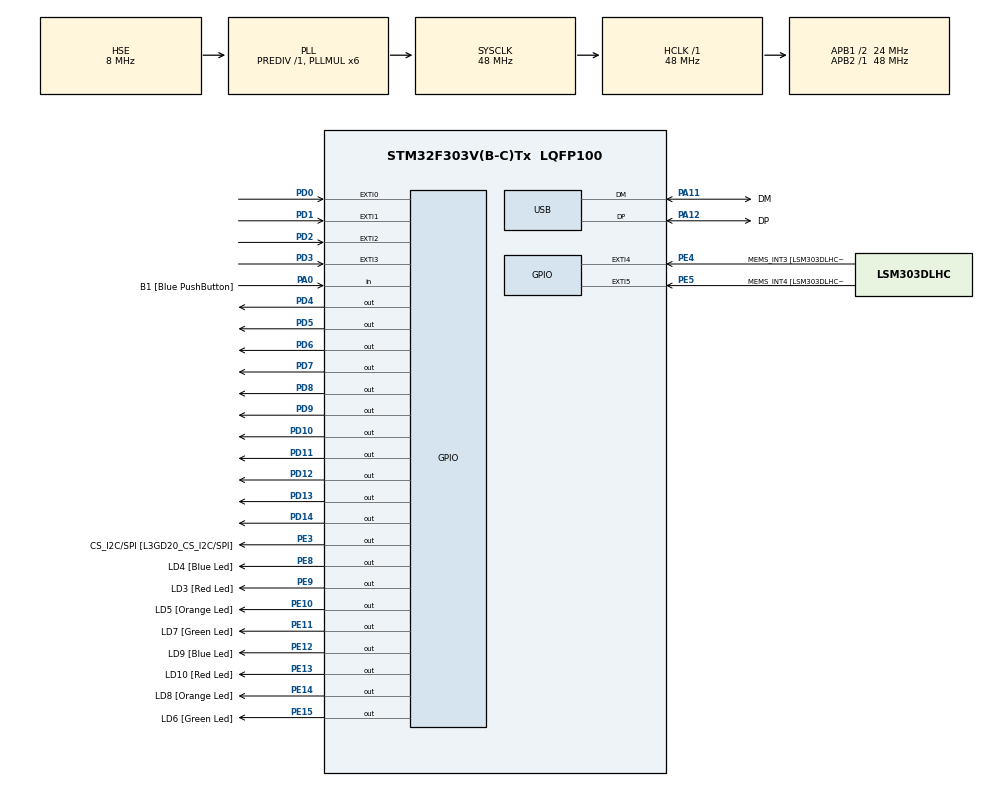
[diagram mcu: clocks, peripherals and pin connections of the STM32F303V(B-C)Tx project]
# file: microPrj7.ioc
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Mcu.Family=STM32F3
Mcu.Name=STM32F303V(B-C)Tx
Mcu.Package=LQFP100
NVIC.EXTI0_IRQn=true\:1\:0\:true\:false\:true\:true\:true\:true
NVIC.EXTI1_IRQn=true\:1\:0\:true\:false\:true\:true\:true\:true
NVIC.EXTI2_TSC_IRQn=true\:1\:0\:true\:false\:true\:true\:true\:true
NVIC.EXTI3_IRQn=true\:1\:0\:true\:false\:true\:true\:true\:true
NVIC.PriorityGroup=NVIC_PRIORITYGROUP_1
NVIC.TIM6_DAC_IRQn=true\:1\:0\:true\:false\:true\:true\:true\:true
PA0.GPIO_Label=B1 [Blue PushButton]
PA0.Signal=GPIO_Input
PA11.GPIO_Label=DM
PA11.Mode=Device
PA11.Signal=USB_DM
PA12.GPIO_Label=DP
PA12.Mode=Device
PA12.Signal=USB_DP
PA13.GPIO_Label=SWDIO
PA13.Mode=Serial_Wire
PA13.Signal=SYS_JTMS-SWDIO
PA14.GPIO_Label=SWCLK
PA14.Mode=Serial_Wire
PA14.Signal=SYS_JTCK-SWCLK
PB3.GPIO_Label=SWO
PB3.Signal=SYS_JTDO-TRACESWO
PB6.GPIO_Label=I2C1_SCL [LSM303DLHC_SCL]
PB6.GPIO_Pu=GPIO_PULLUP
PB6.Signal=I2C1_SCL
PB7.GPIO_Label=I2C1_SDA [LSM303DLHC_SDA]
PB7.GPIO_Pu=GPIO_PULLUP
PB7.Signal=I2C1_SDA
PC14-OSC32_IN.GPIO_Label=OSC32_IN
PC14-OSC32_IN.Signal=RCC_OSC32_IN
PC15-OSC32_OUT.GPIO_Label=OSC32_OUT
PC15-OSC32_OUT.Signal=RCC_OSC32_OUT
PD0.GPIO_PuPd=GPIO_PULLDOWN
PD0.Signal=GPXTI0
PD1.GPIO_PuPd=GPIO_PULLDOWN
PD1.Signal=GPXTI1
PD10.Signal=GPIO_Output
PD11.Signal=GPIO_Output
PD12.Signal=GPIO_Output
PD13.Signal=GPIO_Output
PD14.Signal=GPIO_Output
PD2.GPIO_PuPd=GPIO_PULLDOWN
PD2.Signal=GPXTI2
PD3.GPIO_PuPd=GPIO_PULLDOWN
PD3.Signal=GPXTI3
PD4.Signal=GPIO_Output
PD5.Signal=GPIO_Output
PD6.Signal=GPIO_Output
PD7.Signal=GPIO_Output
PD8.Signal=GPIO_Output
PD9.Signal=GPIO_Output
PE10.GPIO_Label=LD5 [Orange Led]
PE10.Signal=GPIO_Output
PE11.GPIO_Label=LD7 [Green Led]
PE11.Signal=GPIO_Output
PE12.GPIO_Label=LD9 [Blue Led]
PE12.Signal=GPIO_Output
PE13.GPIO_Label=LD10 [Red Led]
PE13.Signal=GPIO_Output
PE14.GPIO_Label=LD8 [Orange Led]
PE14.Signal=GPIO_Output
PE15.GPIO_Label=LD6 [Green Led]
PE15.Signal=GPIO_Output
PE3.GPIO_Label=CS_I2C/SPI [L3GD20_CS_I2C/SPI]
PE3.Signal=GPIO_Output
PE4.GPIO_Label=MEMS_INT3 [LSM303DLHC_INT1]
PE4.GPIO_ModeDefaultEXTI=GPIO_MODE_EVT_RISING
PE4.Signal=GPXTI4
PE5.GPIO_Label=MEMS_INT4 [LSM303DLHC_INT2]
PE5.GPIO_ModeDefaultEXTI=GPIO_MODE_EVT_RISING
PE5.Signal=GPXTI5
PE8.GPIO_Label=LD4 [Blue Led]
PE8.Signal=GPIO_Output
PE9.GPIO_Label=LD3 [Red Led]
PE9.Signal=GPIO_Output
PF0-OSC_IN.GPIO_Label=OSC_IN
PF0-OSC_IN.Mode=HSE-External-Clock-Source
PF0-OSC_IN.Signal=RCC_OSC_IN
PF1-OSC_OUT.GPIO_Label=OSC_OUT
PF1-OSC_OUT.Signal=RCC_OSC_OUT
ProjectManager.HeapSize=0x200
ProjectManager.StackSize=0x400
ProjectManager.TargetToolchain=STM32CubeIDE
RCC.AHBFreq_Value=48000000
RCC.APB1CLKDivider=RCC_HCLK_DIV2
RCC.APB1Freq_Value=24000000
RCC.APB1TimFreq_Value=48000000
RCC.APB2Freq_Value=48000000
RCC.APB2TimFreq_Value=48000000
RCC.CortexFreq_Value=48000000
RCC.HCLKFreq_Value=48000000
RCC.HSE_VALUE=8000000
RCC.HSI_VALUE=8000000
RCC.LSE_VALUE=32768
RCC.PLLMUL=RCC_PLL_MUL6
RCC.SYSCLKFreq_VALUE=48000000
RCC.SYSCLKSourceVirtual=RCC_SYSCLKSOURCE_PLLCLK
RCC.USBFreq_Value=48000000
TIM6.Period=999
TIM6.Prescaler=9599
VP_TIM6_VS_ClockSourceINT.Mode=Enable_Timer
board=STM32F3DISCOVERY

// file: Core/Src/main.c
/* USER CODE BEGIN Header */
/**
 ******************************************************************************
 * @file           : main.c
 * @brief          : Main program body
 ******************************************************************************
 * @attention
 *
 * Copyright (c) 2022 STMicroelectronics.
 * All rights reserved.
 *
 * This software is licensed under terms that can be found in the LICENSE file
 * in the root directory of this software component.
 * If no LICENSE file comes with this software, it is provided AS-IS.
 *
 ******************************************************************************
 */
/* USER CODE END Header */
#include "main.h"

/* USER CODE BEGIN Includes */
#include <stdio.h>
#include <stdbool.h>
#include <string.h>
#include <math.h>
#include "LiquidCrystal.h"
/* USER CODE END Includes */

/* USER CODE BEGIN PTD */
enum statusType {
	FIRST_NUM, SECOND_NUM, RESULT, ERROR0
};
enum operatorType {
	PLUS, MINUS, MULTIPLY, DIVISION
};
enum signType {
	POSITIVE, NEGATIVE
};
/* USER CODE END PTD */

/* USER CODE BEGIN PD */
#define LCD_D8 GPIO_PIN_8
#define LCD_D9 GPIO_PIN_9
#define LCD_D10 GPIO_PIN_10
#define LCD_D11 GPIO_PIN_11
#define LCD_D12 GPIO_PIN_12
#define LCD_D13 GPIO_PIN_13
#define LCD_D14 GPIO_PIN_14

/* USER CODE END PD */

TIM_HandleTypeDef htim6;

PCD_HandleTypeDef hpcd_USB_FS;

/* USER CODE BEGIN PV */
int lastExtiTime = 0;
enum statusType status = FIRST_NUM;
enum signType firstNumSign = POSITIVE;
enum operatorType operator;
int firstNumIdx = 0, secondNumIdx = 0;
int firstNumBuff[5] = { [0 ... 4] = -1 }, secondNumBuff[5] = { [0 ... 4] = -1 };
int currentRow = 0;
/* USER CODE END PV */

void SystemClock_Config(void);
static void MX_GPIO_Init(void);
static void MX_USB_PCD_Init(void);
static void MX_TIM6_Init(void);
/* USER CODE BEGIN PFP */
void handleKey();
void calculate();
void setAsFirstNum(int n);
void calcReset();
/* USER CODE END PFP */

int main(void) {

	/* MCU Configuration--------------------------------------------------------*/

	/* Reset of all peripherals, Initializes the Flash interface and the Systick. */
	HAL_Init();

	/* Configure the system clock */
	SystemClock_Config();

	/* Initialize all configured peripherals */
	MX_GPIO_Init();
	MX_USB_PCD_Init();
	MX_TIM6_Init();
	/* USER CODE BEGIN 2 */
	HAL_TIM_Base_Start_IT(&htim6);
	LiquidCrystal(GPIOD, LCD_D8, LCD_D9, LCD_D10, LCD_D11, LCD_D12, LCD_D13,
	LCD_D14);
	begin(20, 4);

	print("0");

	HAL_GPIO_WritePin(GPIOD, GPIO_PIN_4 | GPIO_PIN_5 | GPIO_PIN_6 | GPIO_PIN_7, GPIO_PIN_SET);
	/* USER CODE END 2 */

	/* Infinite loop */
	while (1) {

	}
}

void SystemClock_Config(void) {
	RCC_OscInitTypeDef RCC_OscInitStruct = { 0 };
	RCC_ClkInitTypeDef RCC_ClkInitStruct = { 0 };
	RCC_PeriphCLKInitTypeDef PeriphClkInit = { 0 };

	/** Initializes the RCC Oscillators according to the specified parameters
	 * in the RCC_OscInitTypeDef structure.
	 */
	RCC_OscInitStruct.OscillatorType = RCC_OSCILLATORTYPE_HSE;
	RCC_OscInitStruct.HSEState = RCC_HSE_BYPASS;
	RCC_OscInitStruct.HSEPredivValue = RCC_HSE_PREDIV_DIV1;
	RCC_OscInitStruct.HSIState = RCC_HSI_ON;
	RCC_OscInitStruct.PLL.PLLState = RCC_PLL_ON;
	RCC_OscInitStruct.PLL.PLLSource = RCC_PLLSOURCE_HSE;
	RCC_OscInitStruct.PLL.PLLMUL = RCC_PLL_MUL6;
	if (HAL_RCC_OscConfig(&RCC_OscInitStruct) != HAL_OK) {
		Error_Handler();
	}

	/** Initializes the CPU, AHB and APB buses clocks
	 */
	RCC_ClkInitStruct.ClockType = RCC_CLOCKTYPE_HCLK | RCC_CLOCKTYPE_SYSCLK | RCC_CLOCKTYPE_PCLK1
			| RCC_CLOCKTYPE_PCLK2;
	RCC_ClkInitStruct.SYSCLKSource = RCC_SYSCLKSOURCE_PLLCLK;
	RCC_ClkInitStruct.AHBCLKDivider = RCC_SYSCLK_DIV1;
	RCC_ClkInitStruct.APB1CLKDivider = RCC_HCLK_DIV2;
	RCC_ClkInitStruct.APB2CLKDivider = RCC_HCLK_DIV1;

	if (HAL_RCC_ClockConfig(&RCC_ClkInitStruct, FLASH_LATENCY_1) != HAL_OK) {
		Error_Handler();
	}
	PeriphClkInit.PeriphClockSelection = RCC_PERIPHCLK_USB;
	PeriphClkInit.USBClockSelection = RCC_USBCLKSOURCE_PLL;
	if (HAL_RCCEx_PeriphCLKConfig(&PeriphClkInit) != HAL_OK) {
		Error_Handler();
	}
}

static void MX_TIM6_Init(void) {

	TIM_MasterConfigTypeDef sMasterConfig = { 0 };

	htim6.Instance = TIM6;
	htim6.Init.Prescaler = 9599;
	htim6.Init.CounterMode = TIM_COUNTERMODE_UP;
	htim6.Init.Period = 999;
	htim6.Init.AutoReloadPreload = TIM_AUTORELOAD_PRELOAD_DISABLE;
	if (HAL_TIM_Base_Init(&htim6) != HAL_OK) {
		Error_Handler();
	}
	sMasterConfig.MasterOutputTrigger = TIM_TRGO_RESET;
	sMasterConfig.MasterSlaveMode = TIM_MASTERSLAVEMODE_DISABLE;
	if (HAL_TIMEx_MasterConfigSynchronization(&htim6, &sMasterConfig) != HAL_OK) {
		Error_Handler();
	}

}

static void MX_USB_PCD_Init(void) {

	hpcd_USB_FS.Instance = USB;
	hpcd_USB_FS.Init.dev_endpoints = 8;
	hpcd_USB_FS.Init.speed = PCD_SPEED_FULL;
	hpcd_USB_FS.Init.phy_itface = PCD_PHY_EMBEDDED;
	hpcd_USB_FS.Init.low_power_enable = DISABLE;
	hpcd_USB_FS.Init.battery_charging_enable = DISABLE;
	if (HAL_PCD_Init(&hpcd_USB_FS) != HAL_OK) {
		Error_Handler();
	}

}

static void MX_GPIO_Init(void) {
	GPIO_InitTypeDef GPIO_InitStruct = { 0 };

	/* GPIO Ports Clock Enable */
	__HAL_RCC_GPIOE_CLK_ENABLE();
	__HAL_RCC_GPIOC_CLK_ENABLE();
	__HAL_RCC_GPIOF_CLK_ENABLE();
	__HAL_RCC_GPIOA_CLK_ENABLE();
	__HAL_RCC_GPIOD_CLK_ENABLE();
	__HAL_RCC_GPIOB_CLK_ENABLE();

	/*Configure GPIO pin Output Level */
	HAL_GPIO_WritePin(GPIOE,
	CS_I2C_SPI_Pin | LD4_Pin | LD3_Pin | LD5_Pin | LD7_Pin | LD9_Pin | LD10_Pin | LD8_Pin | LD6_Pin,
			GPIO_PIN_RESET);

	/*Configure GPIO pin Output Level */
	HAL_GPIO_WritePin(GPIOD,
			GPIO_PIN_8 | GPIO_PIN_9 | GPIO_PIN_10 | GPIO_PIN_11 | GPIO_PIN_12 | GPIO_PIN_13
					| GPIO_PIN_14 | GPIO_PIN_4 | GPIO_PIN_5 | GPIO_PIN_6 | GPIO_PIN_7,
			GPIO_PIN_RESET);

	/*Configure GPIO pins : CS_I2C_SPI_Pin LD4_Pin LD3_Pin LD5_Pin
	 LD7_Pin LD9_Pin LD10_Pin LD8_Pin
	 LD6_Pin */
	GPIO_InitStruct.Pin = CS_I2C_SPI_Pin | LD4_Pin | LD3_Pin | LD5_Pin | LD7_Pin | LD9_Pin
			| LD10_Pin | LD8_Pin | LD6_Pin;
	GPIO_InitStruct.Mode = GPIO_MODE_OUTPUT_PP;
	GPIO_InitStruct.Pull = GPIO_NOPULL;
	GPIO_InitStruct.Speed = GPIO_SPEED_FREQ_LOW;
	HAL_GPIO_Init(GPIOE, &GPIO_InitStruct);

	/*Configure GPIO pins : MEMS_INT3_Pin MEMS_INT4_Pin */
	GPIO_InitStruct.Pin = MEMS_INT3_Pin | MEMS_INT4_Pin;
	GPIO_InitStruct.Mode = GPIO_MODE_EVT_RISING;
	GPIO_InitStruct.Pull = GPIO_NOPULL;
	HAL_GPIO_Init(GPIOE, &GPIO_InitStruct);

	/*Configure GPIO pin : B1_Pin */
	GPIO_InitStruct.Pin = B1_Pin;
	GPIO_InitStruct.Mode = GPIO_MODE_INPUT;
	GPIO_InitStruct.Pull = GPIO_NOPULL;
	HAL_GPIO_Init(B1_GPIO_Port, &GPIO_InitStruct);

	/*Configure GPIO pins : PD8 PD9 PD10 PD11
	 PD12 PD13 PD14 PD4
	 PD5 PD6 PD7 */
	GPIO_InitStruct.Pin = GPIO_PIN_8 | GPIO_PIN_9 | GPIO_PIN_10 | GPIO_PIN_11 | GPIO_PIN_12
			| GPIO_PIN_13 | GPIO_PIN_14 | GPIO_PIN_4 | GPIO_PIN_5 | GPIO_PIN_6 | GPIO_PIN_7;
	GPIO_InitStruct.Mode = GPIO_MODE_OUTPUT_PP;
	GPIO_InitStruct.Pull = GPIO_NOPULL;
	GPIO_InitStruct.Speed = GPIO_SPEED_FREQ_LOW;
	HAL_GPIO_Init(GPIOD, &GPIO_InitStruct);

	/*Configure GPIO pins : PD0 PD1 PD2 PD3 */
	GPIO_InitStruct.Pin = GPIO_PIN_0 | GPIO_PIN_1 | GPIO_PIN_2 | GPIO_PIN_3;
	GPIO_InitStruct.Mode = GPIO_MODE_IT_RISING;
	GPIO_InitStruct.Pull = GPIO_PULLDOWN;
	HAL_GPIO_Init(GPIOD, &GPIO_InitStruct);

	/*Configure GPIO pins : I2C1_SCL_Pin I2C1_SDA_Pin */
	GPIO_InitStruct.Pin = I2C1_SCL_Pin | I2C1_SDA_Pin;
	GPIO_InitStruct.Mode = GPIO_MODE_AF_OD;
	GPIO_InitStruct.Pull = GPIO_PULLUP;
	GPIO_InitStruct.Speed = GPIO_SPEED_FREQ_HIGH;
	GPIO_InitStruct.Alternate = GPIO_AF4_I2C1;
	HAL_GPIO_Init(GPIOB, &GPIO_InitStruct);

	/* EXTI interrupt init*/
	HAL_NVIC_SetPriority(EXTI0_IRQn, 1, 0);
	HAL_NVIC_EnableIRQ(EXTI0_IRQn);

	HAL_NVIC_SetPriority(EXTI1_IRQn, 1, 0);
	HAL_NVIC_EnableIRQ(EXTI1_IRQn);

	HAL_NVIC_SetPriority(EXTI2_TSC_IRQn, 1, 0);
	HAL_NVIC_EnableIRQ(EXTI2_TSC_IRQn);

	HAL_NVIC_SetPriority(EXTI3_IRQn, 1, 0);
	HAL_NVIC_EnableIRQ(EXTI3_IRQn);

}

/* USER CODE BEGIN 4 */
int myNum;
bool clicked = false;
char calcChar;
char str[20];
void HAL_TIM_PeriodElapsedCallback(TIM_HandleTypeDef *htim) {
	if (htim->Instance == TIM6) {
		handleKey();
	}
}

void handleKey() {
	if (!clicked)
		return;

	if (status == ERROR0) {
		clicked = false;
		calcReset();
		return;
	}

	switch (myNum) {
	case 1:
	case 2:
	case 3:
		if (status == FIRST_NUM) {
			if (firstNumIdx < 4) {
				firstNumBuff[firstNumIdx] = myNum;
				firstNumIdx++;
				sprintf(str, "%d", myNum);
				if (firstNumIdx == 1)
					setCursor(0, currentRow);
				print(str);
			}
		} else if (status == SECOND_NUM) {
			if (secondNumIdx < 4) {
				secondNumBuff[secondNumIdx] = myNum;
				secondNumIdx++;
				sprintf(str, "%d", myNum);
				print(str);
			}
		}

		break;
	case 5:
	case 6:
	case 7:
		if (status == FIRST_NUM) {
			if (firstNumIdx < 4) {
				firstNumBuff[firstNumIdx] = myNum - 1;
				firstNumIdx++;
				sprintf(str, "%d", myNum - 1);
				if (firstNumIdx == 1)
					setCursor(0, currentRow);
				print(str);
			}
		} else if (status == SECOND_NUM) {
			if (secondNumIdx < 4) {
				secondNumBuff[secondNumIdx] = myNum - 1;
				secondNumIdx++;
				sprintf(str, "%d", myNum - 1);
				print(str);
			}
		}

		break;
	case 9:
	case 10:
	case 11:
		if (status == FIRST_NUM) {
			if (firstNumIdx < 4) {
				firstNumBuff[firstNumIdx] = myNum - 2;
				firstNumIdx++;
				sprintf(str, "%d", myNum - 2);
				if (firstNumIdx == 1)
					setCursor(0, currentRow);
				print(str);
			}
		} else if (status == SECOND_NUM) {
			if (secondNumIdx < 4) {
				secondNumBuff[secondNumIdx] = myNum - 2;
				secondNumIdx++;
				sprintf(str, "%d", myNum - 2);
				print(str);
			}
		}

		break;
	case 14:
		if (status == FIRST_NUM) {
			if (firstNumIdx < 4 && firstNumIdx > 0) {
				firstNumBuff[firstNumIdx] = 0;
				firstNumIdx++;
				sprintf(str, "%d", 0);
				print(str);
			}
		} else if (status == SECOND_NUM) {
			if ((secondNumBuff[0] != 0 || secondNumIdx == 0) && secondNumIdx < 4) {
				secondNumBuff[secondNumIdx] = 0;
				secondNumIdx++;
				sprintf(str, "%d", 0);
				print(str);
			}
		}
		break;

	case 4:
		if (status == FIRST_NUM) {
			if (firstNumIdx == 0) {
				firstNumSign = NEGATIVE;
				setCursor(0, 0);
			} else {
				status = SECOND_NUM;
				operator = MINUS;
			}
			print("-");
		} else if (status == RESULT) {
			status = SECOND_NUM;
			operator = MINUS;
			print("-");
		}
		break;

	case 8:
		if (status == FIRST_NUM) {
			if (firstNumIdx == 0) {
				firstNumSign = POSITIVE;
			} else {
				status = SECOND_NUM;
				operator = PLUS;
				print("+");
			}
		} else if (status == RESULT) {
			status = SECOND_NUM;
			operator = PLUS;
			print("+");
		}
		break;

	case 12:
		if (status == FIRST_NUM) {
			status = SECOND_NUM;
			operator = MULTIPLY;
			print("*");
		} else if (status == RESULT) {
			status = SECOND_NUM;
			operator = MULTIPLY;
			print("*");
		}
		break;
	case 13:
		calcReset();
		break;
	case 15:
		if (status == SECOND_NUM) {
			if (secondNumIdx > 0) {
				calculate();
			}
		}
		break;
	case 16:
		if (status == FIRST_NUM) {
			status = SECOND_NUM;
			operator = DIVISION;
			print("/");
		} else if (status == RESULT) {
			status = SECOND_NUM;
			operator = DIVISION;
			print("/");
		}
		break;

	default:

		break;
	}
	clicked = false;
}

GPIO_TypeDef *const Row_ports[] = { GPIOD, GPIOD, GPIOD, GPIOD };
const uint16_t Row_pins[] = { GPIO_PIN_0, GPIO_PIN_1, GPIO_PIN_2, GPIO_PIN_3 };
GPIO_TypeDef *const Column_ports[] = { GPIOD, GPIOD, GPIOD, GPIOD };
const uint16_t Column_pins[] = { GPIO_PIN_4, GPIO_PIN_5, GPIO_PIN_6, GPIO_PIN_7 };
uint32_t last_gpio_exti;

void HAL_GPIO_EXTI_Callback(uint16_t GPIO_Pin) {
	if (last_gpio_exti + 200 > HAL_GetTick()) {
		return;
	}
	last_gpio_exti = HAL_GetTick();

	int8_t row_number = -1;
	int8_t column_number = -1;

	for (uint8_t row = 0; row < 4; row++) // Loop through Rows
			{
		if (GPIO_Pin == Row_pins[row]) {
			row_number = row;
		}
	}

	for (int i = 0; i < 4; i++)
		HAL_GPIO_WritePin(Column_ports[i], Column_pins[i], GPIO_PIN_RESET);

	for (uint8_t col = 0; col < 4; col++) // Loop through Columns
			{
		HAL_GPIO_WritePin(Column_ports[col], Column_pins[col], 1);
		if (HAL_GPIO_ReadPin(Row_ports[row_number], Row_pins[row_number])) {
			column_number = col;
		}
		HAL_GPIO_WritePin(Column_ports[col], Column_pins[col], 0);
	}

	for (int i = 0; i < 4; i++)
		HAL_GPIO_WritePin(Column_ports[i], Column_pins[i], GPIO_PIN_SET);

	if (row_number == -1 || column_number == -1) {
		return; // Reject invalid scan
	}
//   C0   C1   C2   C3
// +----+----+----+----+
// | 1  | 2  | 3  | 4  |  R0
// +----+----+----+----+
// | 5  | 6  | 7  | 8  |  R1
// +----+----+----+----+
// | 9  | 10 | 11 | 12 |  R2
// +----+----+----+----+
// | 13 | 14 | 15 | 16 |  R3
// +----+----+----+----+
	const uint8_t button_number = row_number * 4 + column_number + 1;
	myNum = button_number;
	clicked = true;
}

void calculate() {
	status = RESULT;
	int firstNum = 0;
	for (int i = firstNumIdx - 1; i > -1; i--)
		firstNum += powf(10, (firstNumIdx - 1) - i) * firstNumBuff[i];

	int secondNum = 0;
	for (int i = secondNumIdx - 1; i > -1; i--)
		secondNum += powf(10, (secondNumIdx - 1) - i) * secondNumBuff[i];

	if (firstNumSign == NEGATIVE) {
		firstNum = -firstNum;
	}

	float fResult = 0;

	switch (operator) {
	case PLUS:
		fResult = firstNum + secondNum;
		sprintf(str, "%d", (int) fResult);
		break;
	case MINUS:
		fResult = firstNum - secondNum;
		sprintf(str, "%d", (int) fResult);
		break;
	case MULTIPLY:
		fResult = firstNum * secondNum;
		sprintf(str, "%d", (int) fResult);
		break;
	case DIVISION:
		if (secondNum == 0) {
			status = ERROR0;
			clear();
			print("DIVIDE BY ZERO!!");
			return;
		}
		fResult = (float) firstNum / secondNum;
		sprintf(str, "%.2f", fResult);
		break;
	}
	print("=");
	if (++currentRow == 4) {
		currentRow = 0;
		clear();
	} else
		setCursor(0, currentRow);
	print(str);

	setAsFirstNum(fResult);

	for (int i = 0; i < 4; i++)
		secondNumBuff[i] = 0;
	secondNumIdx = 0;

}

void setAsFirstNum(int n) {
	int tmp;
	if (n < 0) {
		tmp = -n;
		firstNumSign = NEGATIVE;
	} else {
		tmp = n;
		firstNumSign = POSITIVE;
	}

	firstNumBuff[3] = tmp % 10;
	tmp /= 10;
	firstNumBuff[2] = tmp % 10;
	tmp /= 10;
	firstNumBuff[1] = tmp % 10;
	tmp /= 10;
	firstNumBuff[0] = tmp % 10;
	firstNumIdx = 4;
}

void calcReset() {
	for (int i = 0; i < 4; i++)
		firstNumBuff[i] = secondNumBuff[i] = 0;
	firstNumIdx = secondNumIdx = 0;
	status = FIRST_NUM;
	firstNumSign = POSITIVE;
	currentRow = 0;
	clear();
	setCursor(0, 0);
	print("0");
}
/* USER CODE END 4 */

void Error_Handler(void) {
	__disable_irq();
	while (1) {
	}
}
